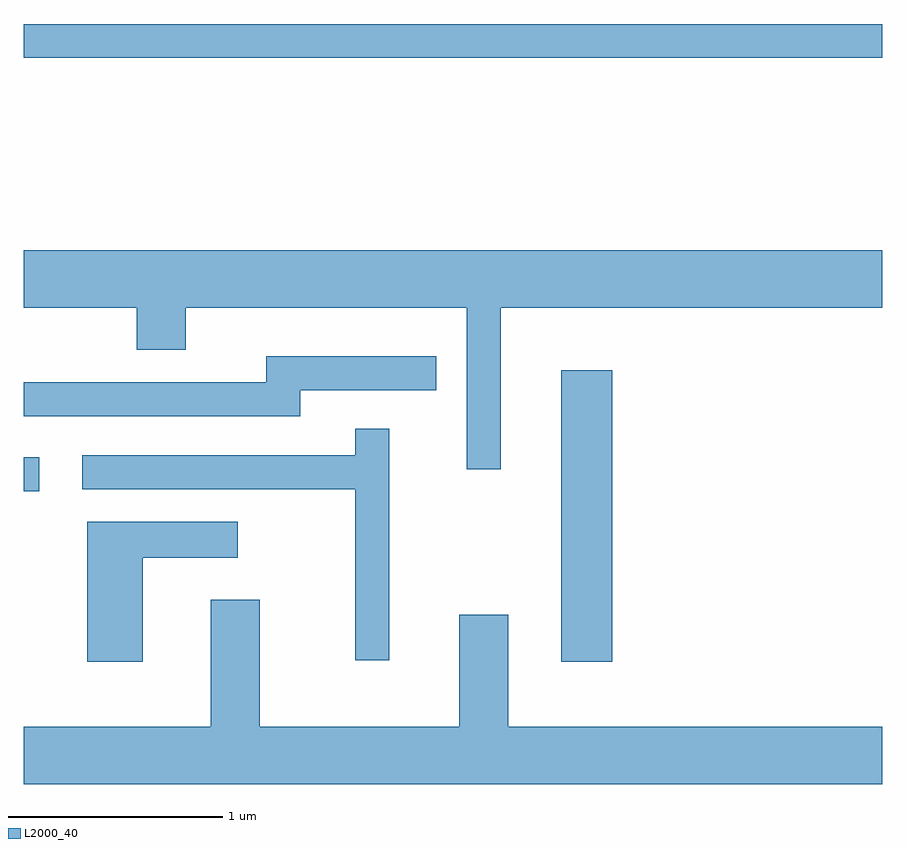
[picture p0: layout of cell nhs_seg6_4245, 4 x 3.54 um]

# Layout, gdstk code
import gdstk
lib = gdstk.Library(unit=1e-6, precision=1e-09)
def R(c, l, rs):  # rectangles x0, y0, x1, y1
    for r in rs: c.add(gdstk.rectangle(r[:2], r[2:], *l))
def P(c, l, *ps):  # polygons
    for p in ps: c.add(gdstk.Polygon(p, *l))
L2000_40 = (2000, 40)

nhs_seg6_4245 = lib.new_cell('nhs_seg6_4245')
R(nhs_seg6_4245, L2000_40, [(318.116,1535.066,318.354,1536.424), (315.611,1535.861,315.683,1536.019), (315.611,1537.881,319.611,1538.039)])
P(nhs_seg6_4245, L2000_40, [(317.834,1536.716),(319.611,1536.716),(319.611,1536.984),(315.611,1536.984),(315.611,1536.716),(316.136,1536.716),(316.136,1536.521),(316.364,1536.521),(316.364,1536.716),(317.676,1536.716),(317.676,1535.963),(317.834,1535.963)],
  [(316.899,1536.331),(317.533,1536.331),(317.533,1536.489),(316.741,1536.489),(316.741,1536.369),(315.611,1536.369),(315.611,1536.211),(316.899,1536.211)],
  [(317.314,1536.153),(317.156,1536.153),(317.156,1536.029),(315.883,1536.029),(315.883,1535.871),(317.156,1535.871),(317.156,1535.073),(317.314,1535.073)],
  [(316.164,1535.551),(316.608,1535.551),(316.608,1535.719),(315.906,1535.719),(315.906,1535.066),(316.164,1535.066)],
  [(319.611,1534.764),(317.869,1534.764),(317.869,1535.284),(317.641,1535.284),(317.641,1534.764),(316.709,1534.764),(316.709,1535.354),(316.481,1535.354),(316.481,1534.764),(315.611,1534.764),(315.611,1534.496),(319.611,1534.496)])

lib.write_gds('nhs_seg6_4245.gds')
